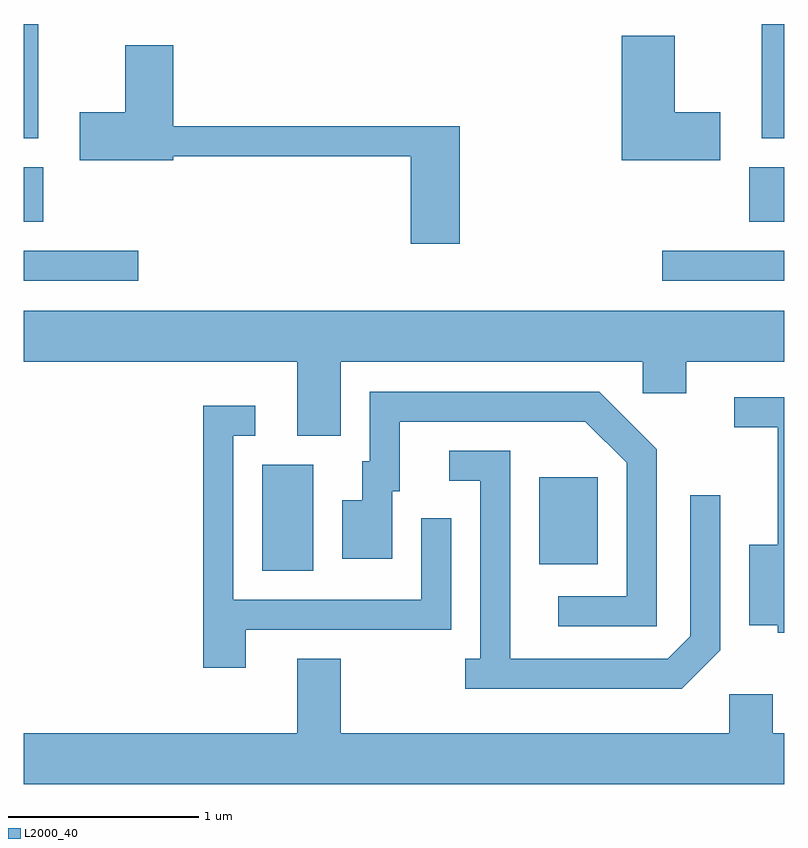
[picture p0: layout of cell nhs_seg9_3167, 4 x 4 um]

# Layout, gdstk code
import gdstk
lib = gdstk.Library(unit=1e-6, precision=1e-09)
def R(c, l, rs):  # rectangles x0, y0, x1, y1
    for r in rs: c.add(gdstk.rectangle(r[:2], r[2:], *l))
def P(c, l, *ps):  # polygons
    for p in ps: c.add(gdstk.Polygon(p, *l))
L2000_40 = (2000, 40)

nhs_seg9_3167 = lib.new_cell('nhs_seg9_3167')
R(nhs_seg9_3167, L2000_40, [(278.866,2039.556,279.134,2040.114), (280.321,2039.591,280.629,2040.049), (277.611,2041.081,278.213,2041.239), (280.968,2041.081,281.611,2041.239), (277.611,2041.391,277.714,2041.679), (281.426,2041.391,281.611,2041.679), (277.611,2041.831,277.689,2042.432), (281.491,2041.831,281.611,2042.432)])
P(nhs_seg9_3167, L2000_40, [(281.274,2041.969),(281.034,2041.969),(281.034,2042.369),(280.756,2042.369),(280.756,2041.716),(281.274,2041.716)],
  [(279.904,2041.894),(278.399,2041.894),(278.399,2042.319),(278.146,2042.319),(278.146,2041.969),(277.906,2041.969),(277.906,2041.716),(278.399,2041.716),(278.399,2041.736),(279.646,2041.736),(279.646,2041.276),(279.904,2041.276)],
  [(279.279,2040.656),(280.866,2040.656),(280.866,2040.491),(281.094,2040.491),(281.094,2040.656),(281.611,2040.656),(281.611,2040.924),(277.611,2040.924),(277.611,2040.656),(279.051,2040.656),(279.051,2040.266),(279.279,2040.266)],
  [(280.939,2040.197),(280.637,2040.499),(279.431,2040.499),(279.431,2040.134),(279.391,2040.134),(279.391,2039.929),(279.286,2039.929),(279.286,2039.621),(279.549,2039.621),(279.549,2039.976),(279.589,2039.976),(279.589,2040.341),(280.564,2040.341),(280.781,2040.124),(280.781,2039.424),(280.423,2039.424),(280.423,2039.266),(280.939,2039.266)],
  [(281.611,2040.469),(281.348,2040.469),(281.348,2040.311),(281.576,2040.311),(281.576,2039.694),(281.426,2039.694),(281.426,2039.271),(281.576,2039.271),(281.576,2039.231),(281.611,2039.231)],
  [(278.779,2039.246),(279.859,2039.246),(279.859,2039.833),(279.701,2039.833),(279.701,2039.404),(278.714,2039.404),(278.714,2040.266),(278.828,2040.266),(278.828,2040.424),(278.556,2040.424),(278.556,2039.046),(278.779,2039.046)],
  [(281.274,2039.139),(281.274,2039.953),(281.116,2039.953),(281.116,2039.212),(280.999,2039.094),(280.169,2039.094),(280.169,2040.189),(279.848,2040.189),(279.848,2040.031),(280.011,2040.031),(280.011,2039.094),(279.933,2039.094),(279.933,2038.936),(281.072,2038.936)],
  [(281.611,2038.704),(281.549,2038.704),(281.549,2038.909),(281.321,2038.909),(281.321,2038.704),(279.279,2038.704),(279.279,2039.094),(279.051,2039.094),(279.051,2038.704),(277.611,2038.704),(277.611,2038.436),(281.611,2038.436)])

lib.write_gds('nhs_seg9_3167.gds')
